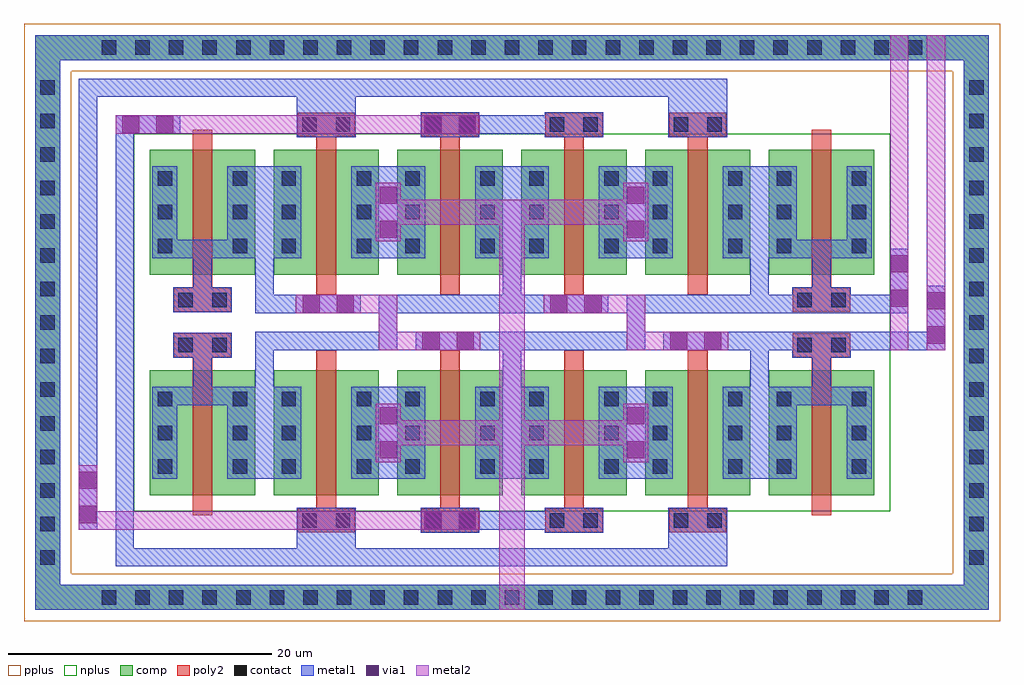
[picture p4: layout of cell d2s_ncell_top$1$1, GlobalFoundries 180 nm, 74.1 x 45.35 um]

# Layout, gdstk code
import gdstk
lib = gdstk.Library(unit=1e-6, precision=1e-09)
def R(c, l, rs):  # rectangles x0, y0, x1, y1
    for r in rs: c.add(gdstk.rectangle(r[:2], r[2:], *l))
def A(c, l, x, y, w, h, nx, ny, dx, dy):  # array of equal rectangles
    R(c, l, [(x+i*dx, y+j*dy, x+i*dx+w, y+j*dy+h) for i in range(nx) for j in range(ny)])
comp = (22, 0)
poly2 = (30, 0)
pplus = (31, 0)
nplus = (32, 0)
contact = (33, 0)
metal1 = (34, 0)
via1 = (35, 0)
metal2 = (36, 0)

d2s_ncell_1_1_1_1_1 = lib.new_cell('d2s_ncell_1$1$1$1$1')
R(d2s_ncell_1_1_1_1_1, comp, [(0,1.5,2.3,11), (2.3,1.5,5.7,11), (5.7,1.5,8,11)])
R(d2s_ncell_1_1_1_1_1, poly2, [(3.25,0,4.75,12.5)])
A(d2s_ncell_1_1_1_1_1, contact, 0.6, 3.15, 1.1, 1.1, 1, 3, 0, 2.55)
A(d2s_ncell_1_1_1_1_1, contact, 6.3, 3.15, 1.1, 1.1, 1, 3, 0, 2.55)
R(d2s_ncell_1_1_1_1_1, metal1, [(0.2,2.75,2.1,9.75), (5.9,2.75,7.8,9.75)])

d2s_ncell_4_1_1_1 = lib.new_cell('d2s_ncell_4$1$1$1')
A(d2s_ncell_4_1_1_1, poly2, 11.225, 12, 4.35, 1.8, 4, 1, 9.4, 0)
R(d2s_ncell_4_1_1_1, poly2, [(1.825,-1.3,6.175,0.5), (48.825,-1.3,53.175,0.5)])
R(d2s_ncell_4_1_1_1, contact, [(2.175,-0.95,3.275,0.15), (4.725,-0.95,5.825,0.15), (49.175,-0.95,50.275,0.15), (51.725,-0.95,52.825,0.15), (11.575,12.35,12.675,13.45), (14.125,12.35,15.225,13.45), (20.975,12.35,22.075,13.45), (23.525,12.35,24.625,13.45), (30.375,12.35,31.475,13.45), (32.925,12.35,34.025,13.45), (39.775,12.35,40.875,13.45), (42.325,12.35,43.425,13.45)])
A(d2s_ncell_4_1_1_1, metal1, 7.8, 2.75, 1.8, 7, 5, 1, 9.4, 0)
R(d2s_ncell_4_1_1_1, metal1, [(1.775,-1.35,6.225,0.55), (48.775,-1.35,53.225,0.55), (11.175,11.95,15.625,16.4), (20.575,11.95,25.025,13.85), (29.975,11.95,34.425,13.85), (39.375,11.95,43.825,16.4)])
R(d2s_ncell_4_1_1_1, via1, [(17.45,4.3,18.75,5.6), (36.25,4.3,37.55,5.6), (17.45,6.9,18.75,8.2), (36.25,6.9,37.55,8.2), (20.85,12.25,22.15,13.55), (23.45,12.25,24.75,13.55)])
R(d2s_ncell_4_1_1_1, metal2, [(17.15,4.025,19.05,8.475), (35.95,4.025,37.85,8.475)])
d2s_ncell_4_1_1_1.add(gdstk.FlexPath([(4,0.55),(4,2.75)], 1.4, ends="flush", simple_path=True, layer=34, datatype=0))  # metal1
d2s_ncell_4_1_1_1.add(gdstk.FlexPath([(2.1,3.45),(5.9,3.45)], 1.4, ends="flush", simple_path=True, layer=34, datatype=0))  # metal1
d2s_ncell_4_1_1_1.add(gdstk.FlexPath([(49.1,3.45),(52.9,3.45)], 1.4, ends="flush", simple_path=True, layer=34, datatype=0))  # metal1
d2s_ncell_4_1_1_1.add(gdstk.FlexPath([(51,0.55),(51,2.75)], 1.4, ends="flush", simple_path=True, layer=34, datatype=0))  # metal1
d2s_ncell_4_1_1_1.add(gdstk.FlexPath([(29.975,12.9),(25.025,12.9)], 1.4, ends="flush", simple_path=True, layer=34, datatype=0))  # metal1
d2s_ncell_4_1_1_1.add(gdstk.FlexPath([(43.825,15.7),(11.175,15.7)], 1.4, ends="flush", simple_path=True, layer=34, datatype=0))  # metal1
d2s_ncell_4_1_1_1.add(gdstk.FlexPath([(19.05,6.25),(35.95,6.25)], 1.9, ends="flush", simple_path=True, layer=36, datatype=0))  # metal2
d2s_ncell_4_1_1_1.add(gdstk.Reference(d2s_ncell_1_1_1_1_1, (0,0)))
d2s_ncell_4_1_1_1.add(gdstk.Reference(d2s_ncell_1_1_1_1_1, (9.4,0)))
d2s_ncell_4_1_1_1.add(gdstk.Reference(d2s_ncell_1_1_1_1_1, (18.8,0)))
d2s_ncell_4_1_1_1.add(gdstk.Reference(d2s_ncell_1_1_1_1_1, (28.2,0)))
d2s_ncell_4_1_1_1.add(gdstk.Reference(d2s_ncell_1_1_1_1_1, (37.6,0)))
d2s_ncell_4_1_1_1.add(gdstk.Reference(d2s_ncell_1_1_1_1_1, (47,0)))

d2s_ncell_top_1_1 = lib.new_cell('d2s_ncell_top$1$1')
R(d2s_ncell_top_1_1, nplus, [(8.35,8.35,65.75,37)])
A(d2s_ncell_top_1_1, contact, 5.9, 1.25, 1.1, 1.1, 25, 2, 2.55, 41.75)
A(d2s_ncell_top_1_1, contact, 1.25, 4.275, 1.1, 1.1, 1, 15, 0, 2.55)
A(d2s_ncell_top_1_1, contact, 71.75, 4.275, 1.1, 1.1, 1, 15, 0, 2.55)
R(d2s_ncell_top_1_1, via1, [(4.2,7.45,5.5,8.75), (4.2,10.05,5.5,11.35), (30.25,20.625,31.55,21.925), (32.85,20.625,34.15,21.925), (49.05,20.625,50.35,21.925), (51.65,20.625,52.95,21.925), (68.6,21.075,69.9,22.375), (21.15,23.425,22.45,24.725), (23.75,23.425,25.05,24.725), (39.95,23.425,41.25,24.725), (42.55,23.425,43.85,24.725), (68.6,23.675,69.9,24.975), (65.8,23.875,67.1,25.175), (65.8,26.475,67.1,27.775), (7.45,37.05,8.75,38.35), (10.05,37.05,11.35,38.35)])
d2s_ncell_top_1_1.add(gdstk.FlexPath([(7.65,38.4),(7.65,5.55)], 1.4, ends="flush", simple_path=True, layer=34, datatype=0))  # metal1
d2s_ncell_top_1_1.add(gdstk.FlexPath([(4.85,41.2),(4.85,6.95)], 1.4, ends="flush", simple_path=True, layer=34, datatype=0))  # metal1
d2s_ncell_top_1_1.add(gdstk.FlexPath([(66.45,28.275),(66.45,23.375)], 1.4, ends="flush", simple_path=True, layer=34, datatype=0))  # metal1
d2s_ncell_top_1_1.add(gdstk.FlexPath([(56.55,21.275),(68.55,21.275)], 1.4, ends="flush", simple_path=True, layer=34, datatype=0))  # metal1
d2s_ncell_top_1_1.add(gdstk.FlexPath([(69.25,25.475),(69.25,20.575)], 1.4, ends="flush", simple_path=True, layer=34, datatype=0))  # metal1
d2s_ncell_top_1_1.add(gdstk.FlexPath([(11.85,37.7),(6.95,37.7)], 1.4, ends="flush", simple_path=True, layer=34, datatype=0))  # metal1
d2s_ncell_top_1_1.add(gdstk.FlexPath([(20.725,40.5),(5.55,40.5)], 1.4, ends="flush", simple_path=True, layer=34, datatype=0))  # metal1
d2s_ncell_top_1_1.add(gdstk.FlexPath([(20.725,4.85),(6.95,4.85)], 1.4, ends="flush", simple_path=True, layer=34, datatype=0))  # metal1
d2s_ncell_top_1_1.add(gdstk.FlexPath([(72.3,44.5),(72.3,1.8),(1.8,1.8),(1.8,43.55),(71.35,43.55)], 1.9, ends="flush", simple_path=True, layer=34, datatype=0))  # metal1
d2s_ncell_top_1_1.add(gdstk.FlexPath([(55.85,27.55),(55.85,24.775)], 1.4, ends="flush", simple_path=True, layer=34, datatype=0))  # metal1
d2s_ncell_top_1_1.add(gdstk.FlexPath([(37.05,27.55),(37.05,24.775)], 1.4, ends="flush", simple_path=True, layer=34, datatype=0))  # metal1
d2s_ncell_top_1_1.add(gdstk.FlexPath([(18.25,27.55),(18.25,24.775)], 1.4, ends="flush", simple_path=True, layer=34, datatype=0))  # metal1
d2s_ncell_top_1_1.add(gdstk.FlexPath([(34.65,24.075),(27.65,24.075),(27.65,21.275),(20.65,21.275)], 1.4, ends="flush", simple_path=True, layer=34, datatype=0))  # metal1
d2s_ncell_top_1_1.add(gdstk.FlexPath([(25.55,24.075),(20.65,24.075)], 1.4, ends="flush", simple_path=True, layer=34, datatype=0))  # metal1
d2s_ncell_top_1_1.add(gdstk.FlexPath([(34.65,21.275),(29.75,21.275)], 1.4, ends="flush", simple_path=True, layer=34, datatype=0))  # metal1
d2s_ncell_top_1_1.add(gdstk.FlexPath([(34.65,24.075),(39.45,24.075)], 1.4, ends="flush", simple_path=True, layer=34, datatype=0))  # metal1
d2s_ncell_top_1_1.add(gdstk.FlexPath([(34.65,21.275),(39.45,21.275)], 1.4, ends="flush", simple_path=True, layer=34, datatype=0))  # metal1
d2s_ncell_top_1_1.add(gdstk.FlexPath([(20.65,24.075),(17.55,24.075)], 1.4, ends="flush", simple_path=True, layer=34, datatype=0))  # metal1
d2s_ncell_top_1_1.add(gdstk.FlexPath([(20.65,21.275),(17.55,21.275)], 1.4, ends="flush", simple_path=True, layer=34, datatype=0))  # metal1
d2s_ncell_top_1_1.add(gdstk.FlexPath([(37.05,27.55),(37.05,24.775)], 1.4, ends="flush", simple_path=True, layer=34, datatype=0))  # metal1
d2s_ncell_top_1_1.add(gdstk.FlexPath([(53.45,24.075),(46.45,24.075),(46.45,21.275),(39.45,21.275)], 1.4, ends="flush", simple_path=True, layer=34, datatype=0))  # metal1
d2s_ncell_top_1_1.add(gdstk.FlexPath([(44.35,24.075),(39.45,24.075)], 1.4, ends="flush", simple_path=True, layer=34, datatype=0))  # metal1
d2s_ncell_top_1_1.add(gdstk.FlexPath([(53.45,21.275),(48.55,21.275)], 1.4, ends="flush", simple_path=True, layer=34, datatype=0))  # metal1
d2s_ncell_top_1_1.add(gdstk.FlexPath([(56.55,24.075),(53.45,24.075)], 1.4, ends="flush", simple_path=True, layer=34, datatype=0))  # metal1
d2s_ncell_top_1_1.add(gdstk.FlexPath([(56.55,21.275),(53.45,21.275)], 1.4, ends="flush", simple_path=True, layer=34, datatype=0))  # metal1
d2s_ncell_top_1_1.add(gdstk.FlexPath([(55.85,20.575),(55.85,17.8)], 1.4, ends="flush", simple_path=True, layer=34, datatype=0))  # metal1
d2s_ncell_top_1_1.add(gdstk.FlexPath([(37.05,20.575),(37.05,17.8)], 1.4, ends="flush", simple_path=True, layer=34, datatype=0))  # metal1
d2s_ncell_top_1_1.add(gdstk.FlexPath([(18.25,20.575),(18.25,17.8)], 1.4, ends="flush", simple_path=True, layer=34, datatype=0))  # metal1
d2s_ncell_top_1_1.add(gdstk.FlexPath([(37.05,20.575),(37.05,17.8)], 1.4, ends="flush", simple_path=True, layer=34, datatype=0))  # metal1
d2s_ncell_top_1_1.add(gdstk.FlexPath([(56.55,24.075),(65.75,24.075)], 1.4, ends="flush", simple_path=True, layer=34, datatype=0))  # metal1
d2s_ncell_top_1_1.add(gdstk.FlexPath([(72.3,44.5),(72.3,1.8),(1.8,1.8),(1.8,43.55),(71.35,43.55)], 1.9, ends="flush", simple_path=True, layer=22, datatype=0))  # comp
d2s_ncell_top_1_1.add(gdstk.FlexPath([(34.6,37.7),(6.95,37.7)], 1.4, ends="flush", simple_path=True, layer=36, datatype=0))  # metal2
d2s_ncell_top_1_1.add(gdstk.FlexPath([(34.6,7.65),(5.55,7.65)], 1.4, ends="flush", simple_path=True, layer=36, datatype=0))  # metal2
d2s_ncell_top_1_1.add(gdstk.FlexPath([(69.25,44.5),(69.25,20.575)], 1.4, ends="flush", simple_path=True, layer=36, datatype=0))  # metal2
d2s_ncell_top_1_1.add(gdstk.FlexPath([(66.45,28.275),(66.45,23.375)], 1.4, ends="flush", simple_path=True, layer=36, datatype=0))  # metal2
d2s_ncell_top_1_1.add(gdstk.FlexPath([(69.25,25.475),(69.25,20.575)], 1.4, ends="flush", simple_path=True, layer=36, datatype=0))  # metal2
d2s_ncell_top_1_1.add(gdstk.FlexPath([(66.45,44.5),(66.45,20.575)], 1.4, ends="flush", simple_path=True, layer=36, datatype=0))  # metal2
d2s_ncell_top_1_1.add(gdstk.FlexPath([(4.85,6.95),(4.85,11.85)], 1.4, ends="flush", simple_path=True, layer=36, datatype=0))  # metal2
d2s_ncell_top_1_1.add(gdstk.FlexPath([(53.45,21.275),(46.45,21.275),(46.45,24.075),(39.45,24.075)], 1.4, ends="flush", simple_path=True, layer=36, datatype=0))  # metal2
d2s_ncell_top_1_1.add(gdstk.FlexPath([(34.65,21.275),(27.65,21.275),(27.65,24.075),(20.65,24.075)], 1.4, ends="flush", simple_path=True, layer=36, datatype=0))  # metal2
d2s_ncell_top_1_1.add(gdstk.FlexPath([(37.05,30.1),(37.05,0.85)], 1.9, ends="flush", simple_path=True, layer=36, datatype=0))  # metal2
d2s_ncell_top_1_1.add(gdstk.FlexPath([(72.3,45.35),(72.3,1.8),(1.8,1.8),(1.8,43.55),(71.3,43.55)], 3.6, ends="flush", simple_path=True, layer=31, datatype=0))  # pplus
d2s_ncell_top_1_1.add(gdstk.Reference(d2s_ncell_4_1_1_1, (9.55,24.8)))
d2s_ncell_top_1_1.add(gdstk.Reference(d2s_ncell_4_1_1_1, (9.55,20.55), x_reflection=True))

lib.write_gds('d2s_ncell_top_1_1.gds')
